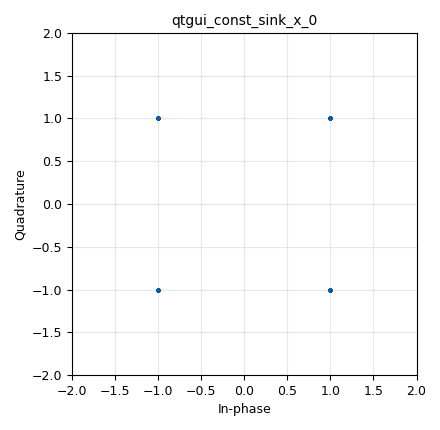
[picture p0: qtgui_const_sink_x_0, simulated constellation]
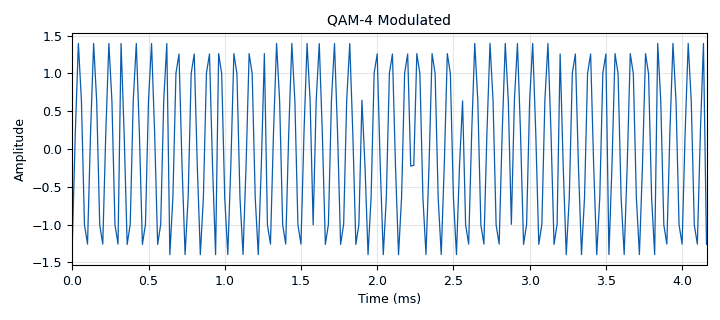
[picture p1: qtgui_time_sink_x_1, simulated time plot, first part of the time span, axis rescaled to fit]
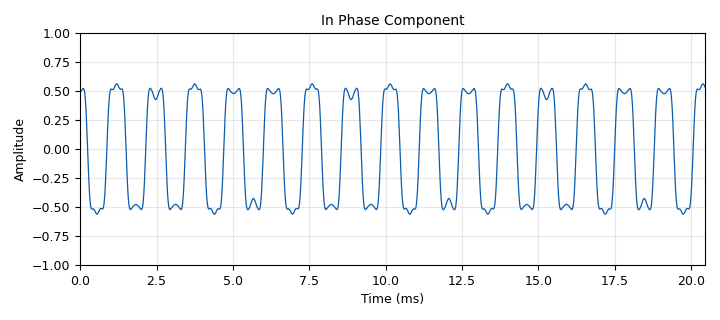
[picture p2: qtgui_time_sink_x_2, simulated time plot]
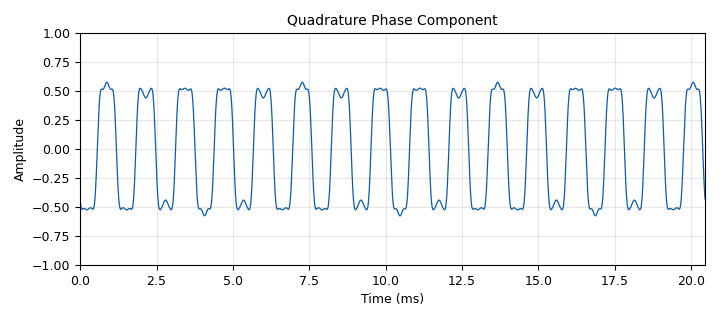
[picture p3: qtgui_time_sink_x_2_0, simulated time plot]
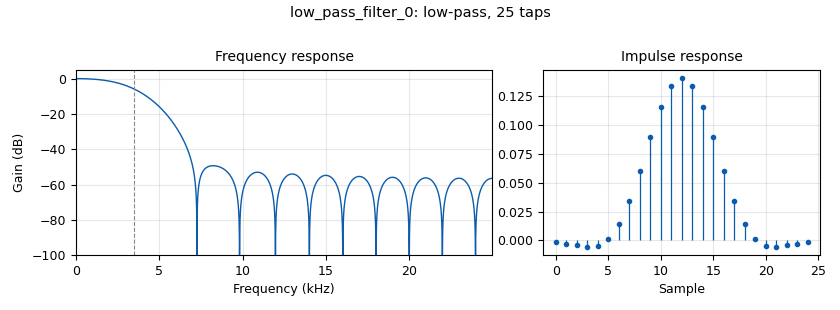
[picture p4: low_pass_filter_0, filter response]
options:
  parameters:
    author: saman
    generate_options: qt_gui
    id: qam
    output_language: python
    title: Not titled yet
  states: {}

blocks:
- name: samp_rate
  id: variable
  parameters:
    value: '50000'
  states: {}
- name: analog_sig_source_x_0
  id: analog_sig_source_x
  parameters:
    amp: '1'
    freq: '10000'
    offset: '0'
    phase: '0'
    samp_rate: samp_rate
    type: float
    waveform: analog.GR_SIN_WAVE
  states: {}
- name: analog_sig_source_x_0_0
  id: analog_sig_source_x
  parameters:
    amp: '1'
    freq: '10000'
    offset: '0'
    phase: '0'
    samp_rate: samp_rate
    type: float
    waveform: analog.GR_COS_WAVE
  states: {}
- name: blocks_add_xx_0
  id: blocks_add_xx
  parameters:
    type: float
  states: {}
- name: blocks_complex_to_float_0
  id: blocks_complex_to_float
  parameters: {}
  states: {}
- name: blocks_multiply_xx_0
  id: blocks_multiply_xx
  parameters:
    type: float
  states: {}
- name: blocks_multiply_xx_0_0
  id: blocks_multiply_xx
  parameters:
    type: float
  states: {}
- name: blocks_multiply_xx_1
  id: blocks_multiply_xx
  parameters:
    type: float
  states: {}
- name: blocks_multiply_xx_1_0
  id: blocks_multiply_xx
  parameters:
    type: float
  states: {}
- name: blocks_repeat_0
  id: blocks_repeat
  parameters:
    interp: '16'
    type: complex
  states: {}
- name: blocks_vector_source_x_0
  id: blocks_vector_source_x
  parameters:
    repeat: 'True'
    type: complex
    vector: '[-1-1j, -1+1j, 1+1j, 1-1j]'
  states: {}
- name: low_pass_filter_0
  id: low_pass_filter
  parameters:
    cutoff_freq: '3500'
    decim: '1'
    gain: '1'
    samp_rate: samp_rate
    type: fir_filter_fff
    width: '5000'
    win: window.WIN_HAMMING
  states: {}
- name: low_pass_filter_0_0
  id: low_pass_filter
  parameters:
    cutoff_freq: '3500'
    decim: '1'
    gain: '1'
    samp_rate: samp_rate
    type: fir_filter_fff
    width: '5000'
    win: window.WIN_HAMMING
  states: {}
- name: qtgui_const_sink_x_0
  id: qtgui_const_sink_x
  parameters:
    size: '1024'
    type: complex
  states: {}
- name: qtgui_time_sink_x_1
  id: qtgui_time_sink_x
  parameters:
    ctrlpanel: 'True'
    name: '"QAM-4 Modulated"'
    size: '1024'
    srate: samp_rate
    type: float
  states: {}
- name: qtgui_time_sink_x_2
  id: qtgui_time_sink_x
  parameters:
    name: '"In Phase Component"'
    size: '1024'
    srate: samp_rate
    type: float
  states: {}
- name: qtgui_time_sink_x_2_0
  id: qtgui_time_sink_x
  parameters:
    name: '"Quadrature Phase Component"'
    size: '1024'
    srate: samp_rate
    type: float
  states: {}

connections:
- [analog_sig_source_x_0, '0', blocks_multiply_xx_0_0, '1']
- [analog_sig_source_x_0, '0', blocks_multiply_xx_1_0, '1']
- [analog_sig_source_x_0_0, '0', blocks_multiply_xx_0, '0']
- [analog_sig_source_x_0_0, '0', blocks_multiply_xx_1, '0']
- [blocks_add_xx_0, '0', blocks_multiply_xx_1, '1']
- [blocks_add_xx_0, '0', blocks_multiply_xx_1_0, '0']
- [blocks_add_xx_0, '0', qtgui_time_sink_x_1, '0']
- [blocks_complex_to_float_0, '0', blocks_multiply_xx_0, '1']
- [blocks_complex_to_float_0, '1', blocks_multiply_xx_0_0, '0']
- [blocks_multiply_xx_0, '0', blocks_add_xx_0, '0']
- [blocks_multiply_xx_0_0, '0', blocks_add_xx_0, '1']
- [blocks_multiply_xx_1, '0', low_pass_filter_0, '0']
- [blocks_multiply_xx_1_0, '0', low_pass_filter_0_0, '0']
- [blocks_repeat_0, '0', blocks_complex_to_float_0, '0']
- [blocks_vector_source_x_0, '0', blocks_repeat_0, '0']
- [blocks_vector_source_x_0, '0', qtgui_const_sink_x_0, '0']
- [low_pass_filter_0, '0', qtgui_time_sink_x_2, '0']
- [low_pass_filter_0_0, '0', qtgui_time_sink_x_2_0, '0']

metadata:
  file_format: 1
  grc_version: 3.10.9.2
